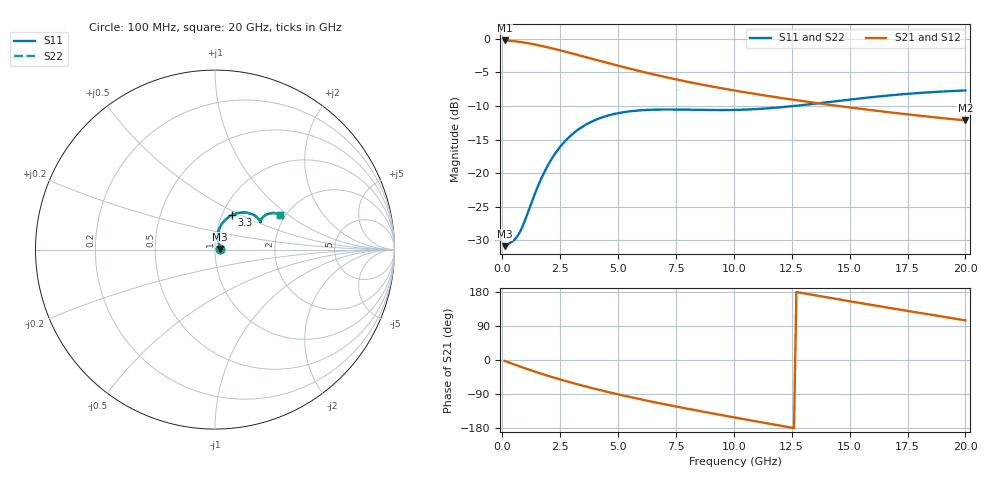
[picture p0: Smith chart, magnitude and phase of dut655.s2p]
! Touchstone file exported from HFSS 2024.1.0
!  File:  C:/UserFiles/LocalFiles/RDL_TSV_Batchsim/temp_RDL_TSV_655_1779810466.aedt
!  Generated:  12:03:05 AM May 27, 2026
!  Design:  RDL_TSV
!  Project:  temp_RDL_TSV_655_1779810466
!  Setup:  Setup1
!  Solution:  Sweep
! Variables:
!  dtsv = 12.75um
!  hbump = 3um
!  htsv = 83.25um
!  ldown = 474.63um
!  lrdl = 514.48um
!  p = 40
!  p1 = 50.73um
!  rhole = 10um
!  subl = 3481.81um
!  t = 450um
!  tdown = 2.86um
!  trdl = 2.83um
!  viad = 10um
!  wdown = 14.81um
!  wrdl = 15.01um
!  xbump = 18um
# GHz S MA R 50.000000
! Terminal data exported
! Port[1] = TM1_1_T1
! Port[2] = TM1_4_T1
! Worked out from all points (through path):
!   200 points, 100 MHz to 20 GHz, reference 50 ohm
!   highest |S21| = -0.26 dB at 100 MHz (marker M1); lowest = -12.1 dB at 20 GHz (marker M2)
!   group delay of S21, straight-line fit = 33.3 ps
!   lowest |S11| = -30.9 dB at 100 MHz (marker M3), VSWR 1.06, Z = 52.9 + j0.392 ohm
!   |S11| at or under -10 dB: start of sweep to 12.61 GHz
!   |S22| runs from -30.9 to -7.7 dB; largest |S21 - S12| = 8.7e-14
!   S11 on the Smith chart (normalised r, x): 100 MHz: 1.06, +0.01; 3.3 GHz: 1.11, +0.44; 20 GHz: 1.88, +0.87
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0.1  0.02864 7.4  0.971 -2.3  0.971 -2.3  0.02864 7.4
! Gamma 0 0 0 0
! Port Impedance 50 0 50 0
0.5  0.0317 33.8  0.96 -11.4  0.96 -11.4  0.03171 33.7
0.7  0.03493 47.7  0.9507 -15.8  0.9507 -15.8  0.03494 47.6
0.9  0.04112 60.4  0.9397 -20.2  0.9397 -20.2  0.04112 60.3
1.2  0.05643 73.0  0.9208 -26.5  0.9208 -26.5  0.05642 73.0
1.7  0.09255 79.3  0.8842 -36.5  0.8842 -36.5  0.0925 79.3
2  0.1169 78.4  0.8604 -42.2  0.8604 -42.2  0.1168 78.3
2.4  0.1492 74.9  0.8276 -49.6  0.8276 -49.6  0.1491 74.8
2.8  0.1794 70.3  0.7947 -56.7  0.7947 -56.7  0.1792 70.2
3.3  0.2123 64.1  0.7541 -65.0  0.7541 -65.0  0.2121 64.1
3.5  0.2237 61.7  0.7383 -68.3  0.7383 -68.3  0.2235 61.7
4.2  0.2559 53.9  0.6854 -79.1  0.6854 -79.1  0.2556 53.8
5.1  0.2815 45.5  0.624 -92.0  0.624 -92.0  0.2811 45.5
5.9  0.2929 39.8  0.5762 -102.8  0.5762 -102.8  0.2924 39.7
6.8  0.2974 35.2  0.5298 -114.2  0.5298 -114.2  0.2968 35.2
8.4  0.2957 31.2  0.4635 -133.2  0.4635 -133.2  0.295 31.2
10.1  0.2956 31.2  0.4099 -152.4  0.4099 -152.4  0.2949 31.2
11.7  0.3057 32.9  0.3702 -170.0  0.3702 -170.0  0.3051 32.9
13.4  0.3273 34.2  0.3356 171.9  0.3356 171.9  0.3269 34.3
15.1  0.3541 34.0  0.3068 154.1  0.3068 154.1  0.354 34.1
16.7  0.3785 32.5  0.2839 137.7  0.2839 137.7  0.3786 32.6
20  0.4123 27.9  0.247 104.7  0.247 104.7  0.4128 28.0
